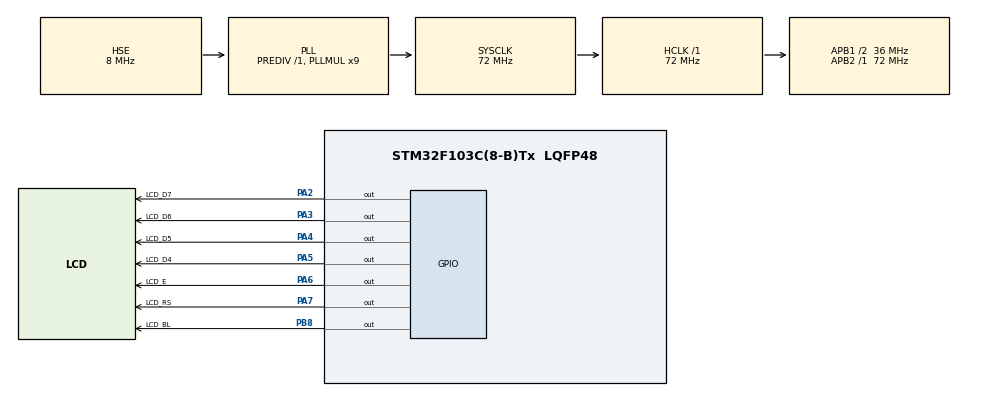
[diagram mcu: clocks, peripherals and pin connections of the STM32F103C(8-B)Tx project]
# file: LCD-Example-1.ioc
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Mcu.Family=STM32F1
Mcu.Name=STM32F103C(8-B)Tx
Mcu.Package=LQFP48
NVIC.PriorityGroup=NVIC_PRIORITYGROUP_4
PA13.Mode=Serial_Wire
PA13.Signal=SYS_JTMS-SWDIO
PA14.Mode=Serial_Wire
PA14.Signal=SYS_JTCK-SWCLK
PA2.GPIO_Label=LCD_D7
PA2.GPIO_ModeDefaultOutputPP=GPIO_MODE_OUTPUT_PP
PA2.GPIO_PuPd=GPIO_NOPULL
PA2.GPIO_Speed=GPIO_SPEED_FREQ_HIGH
PA2.PinState=GPIO_PIN_RESET
PA2.Signal=GPIO_Output
PA3.GPIO_Label=LCD_D6
PA3.GPIO_ModeDefaultOutputPP=GPIO_MODE_OUTPUT_PP
PA3.GPIO_PuPd=GPIO_NOPULL
PA3.GPIO_Speed=GPIO_SPEED_FREQ_HIGH
PA3.PinState=GPIO_PIN_RESET
PA3.Signal=GPIO_Output
PA4.GPIO_Label=LCD_D5
PA4.GPIO_ModeDefaultOutputPP=GPIO_MODE_OUTPUT_PP
PA4.GPIO_PuPd=GPIO_NOPULL
PA4.GPIO_Speed=GPIO_SPEED_FREQ_HIGH
PA4.PinState=GPIO_PIN_RESET
PA4.Signal=GPIO_Output
PA5.GPIO_Label=LCD_D4
PA5.GPIO_ModeDefaultOutputPP=GPIO_MODE_OUTPUT_PP
PA5.GPIO_PuPd=GPIO_NOPULL
PA5.GPIO_Speed=GPIO_SPEED_FREQ_HIGH
PA5.PinState=GPIO_PIN_RESET
PA5.Signal=GPIO_Output
PA6.GPIO_Label=LCD_E
PA6.GPIO_ModeDefaultOutputPP=GPIO_MODE_OUTPUT_PP
PA6.GPIO_PuPd=GPIO_NOPULL
PA6.GPIO_Speed=GPIO_SPEED_FREQ_HIGH
PA6.PinState=GPIO_PIN_RESET
PA6.Signal=GPIO_Output
PA7.GPIO_Label=LCD_RS
PA7.GPIO_ModeDefaultOutputPP=GPIO_MODE_OUTPUT_PP
PA7.GPIO_PuPd=GPIO_NOPULL
PA7.GPIO_Speed=GPIO_SPEED_FREQ_HIGH
PA7.PinState=GPIO_PIN_RESET
PA7.Signal=GPIO_Output
PB8.GPIO_Label=LCD_BL
PB8.GPIO_Speed=GPIO_SPEED_FREQ_HIGH
PB8.PinState=GPIO_PIN_SET
PB8.Signal=GPIO_Output
PD0-OSC_IN.Mode=HSE-External-Oscillator
PD0-OSC_IN.Signal=RCC_OSC_IN
PD1-OSC_OUT.Mode=HSE-External-Oscillator
PD1-OSC_OUT.Signal=RCC_OSC_OUT
ProjectManager.HeapSize=0x200
ProjectManager.StackSize=0x400
ProjectManager.TargetToolchain=STM32CubeIDE
RCC.AHBFreq_Value=72000000
RCC.APB1CLKDivider=RCC_HCLK_DIV2
RCC.APB1Freq_Value=36000000
RCC.APB1TimFreq_Value=72000000
RCC.APB2Freq_Value=72000000
RCC.APB2TimFreq_Value=72000000
RCC.HCLKFreq_Value=72000000
RCC.PLLMUL=RCC_PLL_MUL9
RCC.PLLSourceVirtual=RCC_PLLSOURCE_HSE
RCC.SYSCLKFreq_VALUE=72000000
RCC.SYSCLKSource=RCC_SYSCLKSOURCE_PLLCLK
RCC.USBFreq_Value=72000000
board=custom

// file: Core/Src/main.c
/* USER CODE BEGIN Header */
/**
  ******************************************************************************
  * @file           : main.c
  * @brief          : Main program body
  ******************************************************************************
  * @attention
  *
  * Copyright (c) 2023 STMicroelectronics.
  * All rights reserved.
  *
  * This software is licensed under terms that can be found in the LICENSE file
  * in the root directory of this software component.
  * If no LICENSE file comes with this software, it is provided AS-IS.
  *
  ******************************************************************************
  */
/* USER CODE END Header */
#include "main.h"

/* USER CODE BEGIN Includes */
#include <stdio.h>

#include "lcdDisplay.h"
/* USER CODE END Includes */

/* USER CODE BEGIN PV */
lcd_t Lcd;

uint8_t arrow1[8] = { 0x00, 0x04, 0x06, 0x1F, 0x1F, 0x06, 0x04, 0x00 };
// 0 0 0 0 0 0 0 0
// 0 0 0 0 0 1 0 0
// 0 0 0 0 0 1 1 0
// 0 0 0 1 1 1 1 1
// 0 0 0 1 1 1 1 1
// 0 0 0 0 0 1 1 0
// 0 0 0 0 0 1 0 0
// 0 0 0 0 0 0 0 0

uint8_t arrow2[8] = { 0x00, 0x04, 0x0C, 0x1F, 0x1F, 0x0C, 0x04, 0x00 };
/* USER CODE END PV */

void SystemClock_Config(void);
static void MX_GPIO_Init(void);

/* USER CODE BEGIN 0 */
void __lcd_init(){
	Lcd.columns = 16;
	Lcd.rows = 2;
	Lcd.font = LCD_FONT_5X8;
	Lcd.interface = LCD_INTERFACE_4BIT;
	Lcd.backlightGpio.GPIO = (uint32_t)LCD_BL_GPIO_Port;
	Lcd.backlightGpio.pin = LCD_BL_Pin;

	Lcd.gpios[LCD_RS].GPIO = (uint32_t)LCD_RS_GPIO_Port;
	Lcd.gpios[LCD_RS].pin = LCD_RS_Pin;
	Lcd.gpios[LCD_E].GPIO = (uint32_t)LCD_E_GPIO_Port;
	Lcd.gpios[LCD_E].pin = LCD_E_Pin;
	Lcd.gpios[LCD_D4].GPIO = (uint32_t)LCD_D4_GPIO_Port;
	Lcd.gpios[LCD_D4].pin = LCD_D4_Pin;
	Lcd.gpios[LCD_D5].GPIO = (uint32_t)LCD_D5_GPIO_Port;
	Lcd.gpios[LCD_D5].pin = LCD_D5_Pin;
	Lcd.gpios[LCD_D6].GPIO = (uint32_t)LCD_D6_GPIO_Port;
	Lcd.gpios[LCD_D6].pin = LCD_D6_Pin;
	Lcd.gpios[LCD_D7].GPIO = (uint32_t)LCD_D7_GPIO_Port;
	Lcd.gpios[LCD_D7].pin = LCD_D7_Pin;

	lcd_init(&Lcd);
	lcd_backlight_set(&Lcd, LCD_BACKLIGHT_ON);
}

void __lcd_creat_custom_char(){
	lcd_create_custom_char(&Lcd, LCD_CUSTOM_1, arrow1);
	lcd_create_custom_char(&Lcd, LCD_CUSTOM_2, arrow2);
}
/* USER CODE END 0 */

int main(void)
{
  /* USER CODE BEGIN 1 */
	int Cnt;
	char Text[17];
  /* USER CODE END 1 */

  /* MCU Configuration--------------------------------------------------------*/

  /* Reset of all peripherals, Initializes the Flash interface and the Systick. */
  HAL_Init();

  /* Configure the system clock */
  SystemClock_Config();

  /* USER CODE BEGIN SysInit */
  HAL_Delay(250);
  /* USER CODE END SysInit */

  /* Initialize all configured peripherals */
  MX_GPIO_Init();
  /* USER CODE BEGIN 2 */
  __lcd_init();
  __lcd_creat_custom_char();

  lcd_send_char_pos(&Lcd, LCD_CUSTOM_1, 0, 0);
  lcd_send_string_pos(&Lcd, "Hello World", 0, 1);
  lcd_send_char(&Lcd, LCD_CUSTOM_2);
  /* USER CODE END 2 */

  /* Infinite loop */
  /* USER CODE BEGIN WHILE */
  Cnt = 0;
  while (1)
  {
	  sprintf(Text, "Contador: %d", Cnt);
	  lcd_send_string_pos(&Lcd, Text, 1, 0);
	  Cnt++;
	  HAL_Delay(500);
    /* USER CODE END WHILE */

  }
}

void SystemClock_Config(void)
{
  RCC_OscInitTypeDef RCC_OscInitStruct = {0};
  RCC_ClkInitTypeDef RCC_ClkInitStruct = {0};

  /** Initializes the RCC Oscillators according to the specified parameters
  * in the RCC_OscInitTypeDef structure.
  */
  RCC_OscInitStruct.OscillatorType = RCC_OSCILLATORTYPE_HSE;
  RCC_OscInitStruct.HSEState = RCC_HSE_ON;
  RCC_OscInitStruct.HSEPredivValue = RCC_HSE_PREDIV_DIV1;
  RCC_OscInitStruct.HSIState = RCC_HSI_ON;
  RCC_OscInitStruct.PLL.PLLState = RCC_PLL_ON;
  RCC_OscInitStruct.PLL.PLLSource = RCC_PLLSOURCE_HSE;
  RCC_OscInitStruct.PLL.PLLMUL = RCC_PLL_MUL9;
  if (HAL_RCC_OscConfig(&RCC_OscInitStruct) != HAL_OK)
  {
    Error_Handler();
  }

  /** Initializes the CPU, AHB and APB buses clocks
  */
  RCC_ClkInitStruct.ClockType = RCC_CLOCKTYPE_HCLK|RCC_CLOCKTYPE_SYSCLK
                              |RCC_CLOCKTYPE_PCLK1|RCC_CLOCKTYPE_PCLK2;
  RCC_ClkInitStruct.SYSCLKSource = RCC_SYSCLKSOURCE_PLLCLK;
  RCC_ClkInitStruct.AHBCLKDivider = RCC_SYSCLK_DIV1;
  RCC_ClkInitStruct.APB1CLKDivider = RCC_HCLK_DIV2;
  RCC_ClkInitStruct.APB2CLKDivider = RCC_HCLK_DIV1;

  if (HAL_RCC_ClockConfig(&RCC_ClkInitStruct, FLASH_LATENCY_2) != HAL_OK)
  {
    Error_Handler();
  }
}

static void MX_GPIO_Init(void)
{
  GPIO_InitTypeDef GPIO_InitStruct = {0};

  /* GPIO Ports Clock Enable */
  __HAL_RCC_GPIOD_CLK_ENABLE();
  __HAL_RCC_GPIOA_CLK_ENABLE();
  __HAL_RCC_GPIOB_CLK_ENABLE();

  /*Configure GPIO pin Output Level */
  HAL_GPIO_WritePin(GPIOA, LCD_D7_Pin|LCD_D6_Pin|LCD_D5_Pin|LCD_D4_Pin
                          |LCD_E_Pin|LCD_RS_Pin, GPIO_PIN_RESET);

  /*Configure GPIO pin Output Level */
  HAL_GPIO_WritePin(LCD_BL_GPIO_Port, LCD_BL_Pin, GPIO_PIN_SET);

  /*Configure GPIO pins : LCD_D7_Pin LCD_D6_Pin LCD_D5_Pin LCD_D4_Pin
                           LCD_E_Pin LCD_RS_Pin */
  GPIO_InitStruct.Pin = LCD_D7_Pin|LCD_D6_Pin|LCD_D5_Pin|LCD_D4_Pin
                          |LCD_E_Pin|LCD_RS_Pin;
  GPIO_InitStruct.Mode = GPIO_MODE_OUTPUT_PP;
  GPIO_InitStruct.Pull = GPIO_NOPULL;
  GPIO_InitStruct.Speed = GPIO_SPEED_FREQ_HIGH;
  HAL_GPIO_Init(GPIOA, &GPIO_InitStruct);

  /*Configure GPIO pin : LCD_BL_Pin */
  GPIO_InitStruct.Pin = LCD_BL_Pin;
  GPIO_InitStruct.Mode = GPIO_MODE_OUTPUT_PP;
  GPIO_InitStruct.Pull = GPIO_NOPULL;
  GPIO_InitStruct.Speed = GPIO_SPEED_FREQ_HIGH;
  HAL_GPIO_Init(LCD_BL_GPIO_Port, &GPIO_InitStruct);

}

void Error_Handler(void)
{
  __disable_irq();
  while (1)
  {
  }
}
